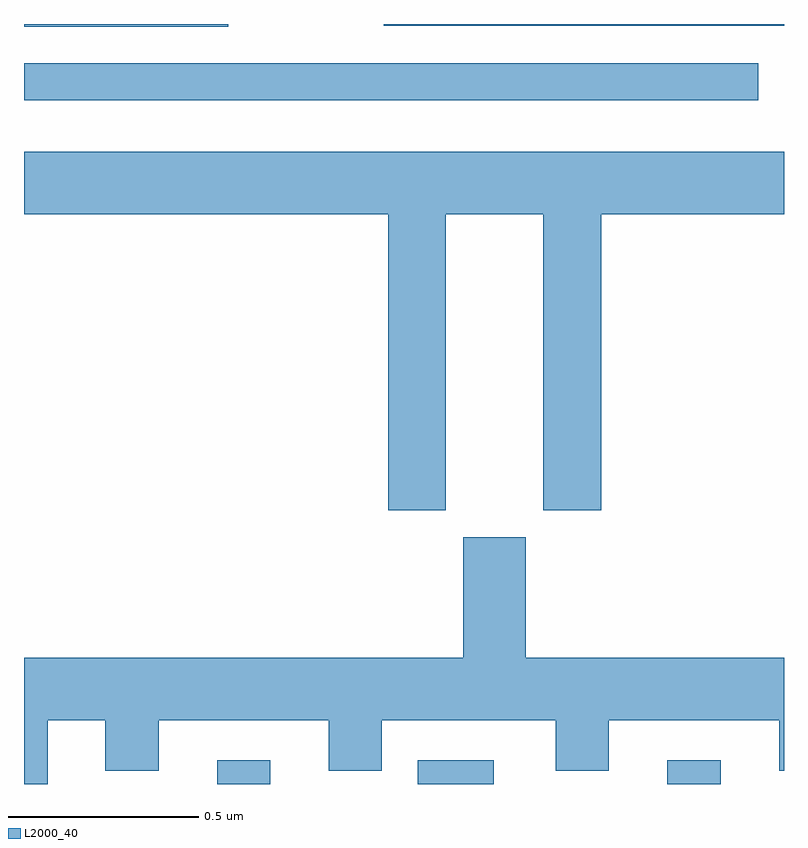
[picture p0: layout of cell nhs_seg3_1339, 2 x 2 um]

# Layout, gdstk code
import gdstk
lib = gdstk.Library(unit=1e-6, precision=1e-09)
def R(c, l, rs):  # rectangles x0, y0, x1, y1
    for r in rs: c.add(gdstk.rectangle(r[:2], r[2:], *l))
def P(c, l, *ps):  # polygons
    for p in ps: c.add(gdstk.Polygon(p, *l))
L2000_40 = (2000, 40)

nhs_seg3_1339 = lib.new_cell('nhs_seg3_1339')
R(nhs_seg3_1339, L2000_40, [(127.508,715.4,127.648,715.462), (128.036,715.4,128.236,715.462), (128.693,715.4,128.833,715.462), (127,717.2,128.932,717.297), (127,717.393,127.537,717.4), (127.947,717.396,129,717.4)])
P(nhs_seg3_1339, L2000_40, [(128.11,716.9),(128.366,716.9),(128.366,716.121),(128.519,716.121),(128.519,716.9),(129,716.9),(129,717.064),(127,717.064),(127,716.9),(127.958,716.9),(127.958,716.121),(128.11,716.121)],
  [(127.063,715.568),(127.214,715.568),(127.214,715.435),(127.354,715.435),(127.354,715.568),(127.802,715.568),(127.802,715.435),(127.942,715.435),(127.942,715.568),(128.399,715.568),(128.399,715.435),(128.539,715.435),(128.539,715.568),(128.987,715.568),(128.987,715.435),(129,715.435),(129,715.732),(128.32,715.732),(128.32,716.049),(128.156,716.049),(128.156,715.732),(127,715.732),(127,715.4),(127.063,715.4)])

lib.write_gds('nhs_seg3_1339.gds')
